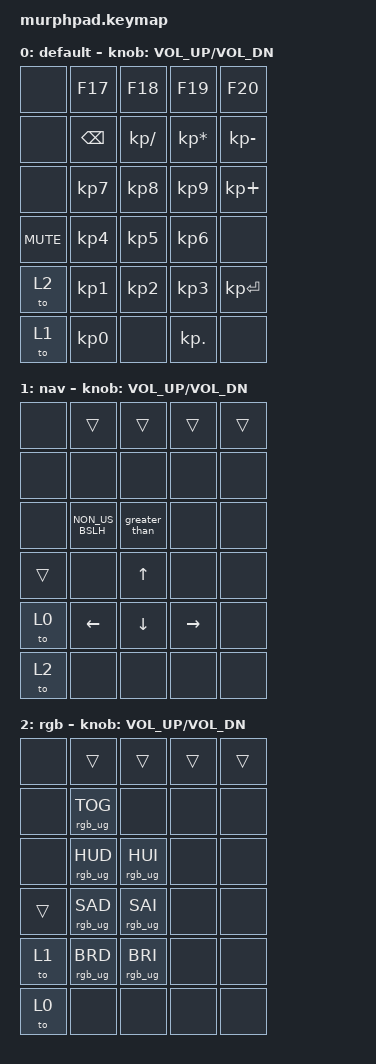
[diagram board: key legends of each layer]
/*
 * Copyright (c) 2021 Kyle McCreery
 *
 * SPDX-License-Identifier: MIT
 */

#include <behaviors.dtsi>
#include <dt-bindings/zmk/keys.h>
#include <dt-bindings/zmk/bt.h>
#include <dt-bindings/zmk/outputs.h>
#include <dt-bindings/zmk/rgb.h>

#define TIMEOUT 300

#define XXX &none
#define ___ &trans

/* Layer Names*/
#define DEFAULT 0
#define NAV 1
#define RGB 2

#define TO(LAYER) &to LAYER

&encoder_1 {
    status = "okay";
};

/ {
    macros {
        greater_than: greater_than {
            label = "GREATER_THAN";
            compatible = "zmk,behavior-macro";
            #binding-cells = <0>;
            bindings
                = <&macro_press &kp LSHFT>
                , <&macro_tap &kp NON_US_BSLH>
                , <&macro_release &kp LSHFT>
                ;
        };
    };
};

/ {
    sensors {
        compatible = "zmk,keymap-sensors";
        sensors = <&encoder_1 &encoder_2>;
    };


    keymap0: keymap {
        compatible = "zmk,keymap";

        default_layer {
            label = "default";
            bindings = <
            // ╭─────────────────┬─────────────────┬─────────────────┬─────────────────┬─────────────────╮
                 XXX               &kp F17           &kp F18           &kp F19           &kp F20
            // ┼─────────────────┼─────────────────┼─────────────────┼─────────────────┼─────────────────┼
                 XXX               &kp BSPC          &kp KP_DIVIDE     &kp KP_MULTIPLY   &kp KP_MINUS
            // ┼─────────────────┼─────────────────┼─────────────────┼─────────────────┼─────────────────┼
                 XXX               &kp KP_N7         &kp KP_N8         &kp KP_N9         &kp KP_PLUS
            // ┼─────────────────┼─────────────────┼─────────────────┼─────────────────┼─────────────────┼
                 &kp C_MUTE        &kp KP_N4         &kp KP_N5         &kp KP_N6         XXX
            // ┼─────────────────┼─────────────────┼─────────────────┼─────────────────┼─────────────────┼
                 &to 2             &kp KP_N1         &kp KP_N2         &kp KP_N3         &kp KP_ENTER
            // ┼─────────────────┼─────────────────┼─────────────────┼─────────────────┼─────────────────┼
                 &to 1             &kp KP_N0         XXX               &kp KP_DOT        XXX
            // ╰─────────────────┼─────────────────┼─────────────────┼─────────────────┼─────────────────╯
            >;
            sensor-bindings = <&inc_dec_kp C_VOL_UP C_VOL_DN>;

        };

        nav_layer {
            label = "nav";
            bindings = <
            // ╭─────────────────┬─────────────────┬─────────────────┬─────────────────┬─────────────────╮
                 XXX               ___               ___               ___               ___
            // ┼─────────────────┼─────────────────┼─────────────────┼─────────────────┼─────────────────┼
                 XXX               XXX               XXX               XXX               XXX
            // ┼─────────────────┼─────────────────┼─────────────────┼─────────────────┼─────────────────┼
                 XXX               &kp NON_US_BSLH   &greater_than     XXX               XXX
            // ┼─────────────────┼─────────────────┼─────────────────┼─────────────────┼─────────────────┼
                 ___               XXX               &kp UP            XXX               XXX
            // ┼─────────────────┼─────────────────┼─────────────────┼─────────────────┼─────────────────┼
                 &to 0             &kp LEFT          &kp DOWN          &kp RIGHT         XXX
            // ┼─────────────────┼─────────────────┼─────────────────┼─────────────────┼─────────────────┼
                 &to 2             XXX               XXX               XXX               XXX
            // ╰─────────────────┼─────────────────┼─────────────────┼─────────────────┼─────────────────╯
            >;
            sensor-bindings = <&inc_dec_kp C_VOL_UP C_VOL_DN>;

        };

        rgb_layer {
            label = "rgb";
            bindings = <
            // ╭─────────────────┬─────────────────┬─────────────────┬─────────────────┬─────────────────╮
                 XXX               ___               ___               ___               ___
            // ┼─────────────────┼─────────────────┼─────────────────┼─────────────────┼─────────────────┼
                 XXX               &rgb_ug RGB_TOG   XXX               XXX               XXX
            // ┼─────────────────┼─────────────────┼─────────────────┼─────────────────┼─────────────────┼
                 XXX               &rgb_ug RGB_HUD   &rgb_ug RGB_HUI   XXX               XXX
            // ┼─────────────────┼─────────────────┼─────────────────┼─────────────────┼─────────────────┼
                 ___               &rgb_ug RGB_SAD   &rgb_ug RGB_SAI   XXX               XXX
            // ┼─────────────────┼─────────────────┼─────────────────┼─────────────────┼─────────────────┼
                 &to 1             &rgb_ug RGB_BRD   &rgb_ug RGB_BRI   XXX               XXX
            // ┼─────────────────┼─────────────────┼─────────────────┼─────────────────┼─────────────────┼
                 &to 0             XXX               XXX               XXX               XXX
            // ╰─────────────────┼─────────────────┼─────────────────┼─────────────────┼─────────────────╯
            >;
            sensor-bindings = <&inc_dec_kp C_VOL_UP C_VOL_DN>;

        };

    };
};
